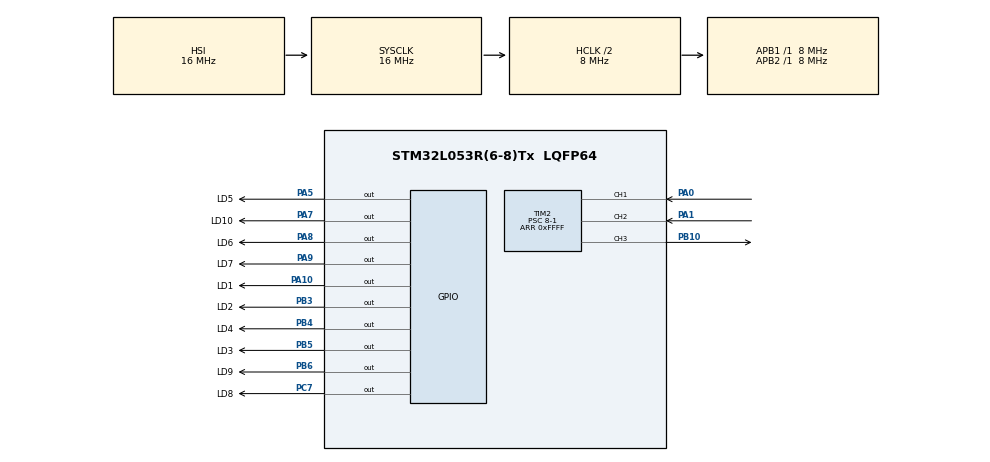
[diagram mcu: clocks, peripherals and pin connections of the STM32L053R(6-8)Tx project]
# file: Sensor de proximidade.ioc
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Dma.Request0=TIM2_CH1
Dma.Request1=TIM2_CH2
Dma.TIM2_CH1.0.Direction=DMA_PERIPH_TO_MEMORY
Dma.TIM2_CH1.0.Instance=DMA1_Channel5
Dma.TIM2_CH1.0.MemDataAlignment=DMA_MDATAALIGN_HALFWORD
Dma.TIM2_CH1.0.MemInc=DMA_MINC_ENABLE
Dma.TIM2_CH1.0.Mode=DMA_NORMAL
Dma.TIM2_CH1.0.PeriphDataAlignment=DMA_PDATAALIGN_HALFWORD
Dma.TIM2_CH1.0.PeriphInc=DMA_PINC_DISABLE
Dma.TIM2_CH1.0.Priority=DMA_PRIORITY_LOW
Dma.TIM2_CH2.1.Direction=DMA_PERIPH_TO_MEMORY
Dma.TIM2_CH2.1.Instance=DMA1_Channel3
Dma.TIM2_CH2.1.MemDataAlignment=DMA_MDATAALIGN_WORD
Dma.TIM2_CH2.1.MemInc=DMA_MINC_ENABLE
Dma.TIM2_CH2.1.Mode=DMA_CIRCULAR
Dma.TIM2_CH2.1.PeriphDataAlignment=DMA_PDATAALIGN_WORD
Dma.TIM2_CH2.1.PeriphInc=DMA_PINC_DISABLE
Dma.TIM2_CH2.1.Priority=DMA_PRIORITY_LOW
Mcu.Family=STM32L0
Mcu.Name=STM32L053R(6-8)Tx
Mcu.Package=LQFP64
NVIC.DMA1_Channel2_3_IRQn=true\:0\:0\:false\:false\:true\:false\:true\:true
NVIC.DMA1_Channel4_5_6_7_IRQn=true\:0\:0\:false\:false\:true\:false\:true\:true
NVIC.TIM2_IRQn=true\:0\:0\:false\:false\:true\:true\:true\:true
PA0.Signal=S_TIM2_CH1
PA1.Signal=S_TIM2_CH2
PA10.GPIO_Label=LD1
PA10.GPIO_PuPd=GPIO_PULLDOWN
PA10.PinState=GPIO_PIN_RESET
PA10.Signal=GPIO_Output
PA5.GPIO_Label=LD5
PA5.GPIO_PuPd=GPIO_PULLDOWN
PA5.PinState=GPIO_PIN_RESET
PA5.Signal=GPIO_Output
PA7.GPIO_Label=LD10
PA7.GPIO_PuPd=GPIO_PULLDOWN
PA7.PinState=GPIO_PIN_RESET
PA7.Signal=GPIO_Output
PA8.GPIO_Label=LD6
PA8.GPIO_PuPd=GPIO_PULLDOWN
PA8.PinState=GPIO_PIN_RESET
PA8.Signal=GPIO_Output
PA9.GPIO_Label=LD7
PA9.GPIO_PuPd=GPIO_PULLDOWN
PA9.PinState=GPIO_PIN_RESET
PA9.Signal=GPIO_Output
PB10.Signal=S_TIM2_CH3
PB3.GPIO_Label=LD2
PB3.GPIO_PuPd=GPIO_PULLDOWN
PB3.PinState=GPIO_PIN_RESET
PB3.Signal=GPIO_Output
PB4.GPIO_Label=LD4
PB4.GPIO_PuPd=GPIO_PULLDOWN
PB4.PinState=GPIO_PIN_RESET
PB4.Signal=GPIO_Output
PB5.GPIO_Label=LD3
PB5.GPIO_PuPd=GPIO_PULLDOWN
PB5.PinState=GPIO_PIN_RESET
PB5.Signal=GPIO_Output
PB6.GPIO_Label=LD9
PB6.GPIO_PuPd=GPIO_PULLDOWN
PB6.PinState=GPIO_PIN_RESET
PB6.Signal=GPIO_Output
PC7.GPIO_Label=LD8
PC7.GPIO_PuPd=GPIO_PULLDOWN
PC7.PinState=GPIO_PIN_RESET
PC7.Signal=GPIO_Output
ProjectManager.HeapSize=0x200
ProjectManager.StackSize=0x400
ProjectManager.TargetToolchain=STM32CubeIDE
RCC.AHBCLKDivider=RCC_SYSCLK_DIV2
RCC.AHBFreq_Value=8000000
RCC.APB1Freq_Value=8000000
RCC.APB1TimFreq_Value=8000000
RCC.APB2Freq_Value=8000000
RCC.APB2TimFreq_Value=8000000
RCC.HCLKFreq_Value=8000000
RCC.HSE_VALUE=8000000
RCC.HSI16_VALUE=16000000
RCC.HSI48_VALUE=48000000
RCC.HSI_VALUE=16000000
RCC.MSI_VALUE=2097000
RCC.SYSCLKFreq_VALUE=16000000
RCC.SYSCLKSource=RCC_SYSCLKSOURCE_HSI
RCC.VCOOutputFreq_Value=48000000
SH.S_TIM2_CH1.0=TIM2_CH1,Input_Capture1_from_TI1
SH.S_TIM2_CH2.0=TIM2_CH2,Input_Capture2_from_TI2
SH.S_TIM2_CH3.0=TIM2_CH3,PWM Generation3 CH3
TIM2.Channel-Input_Capture1_from_TI1=TIM_CHANNEL_1
TIM2.Channel-Input_Capture2_from_TI2=TIM_CHANNEL_2
TIM2.Channel-PWM\ Generation3\ CH3=TIM_CHANNEL_3
TIM2.ICFilter_CH1=5
TIM2.ICFilter_CH2=5
TIM2.ICPolarity_CH2=TIM_INPUTCHANNELPOLARITY_FALLING
TIM2.OCFastMode_PWM-PWM\ Generation3\ CH3=TIM_OCFAST_ENABLE
TIM2.Period=0xFFFF
TIM2.Prescaler=8-1
TIM2.Pulse-PWM\ Generation3\ CH3=10
VP_TIM2_VS_ClockSourceINT.Mode=Internal
board=NUCLEO-L053R8

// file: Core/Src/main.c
/* USER CODE BEGIN Header */
/**
  ******************************************************************************
  * @file           : main.c
  * @brief          : Main program body
  ******************************************************************************
  * @attention
  *
  * Copyright (c) 2025 STMicroelectronics.
  * All rights reserved.
  *
  * This software is licensed under terms that can be found in the LICENSE file
  * in the root directory of this software component.
  * If no LICENSE file comes with this software, it is provided AS-IS.
  *
  ******************************************************************************
  */
/* USER CODE END Header */
#include "main.h"

/* USER CODE BEGIN PTD */
typedef struct{
	uint32_t RisingTiming;
	uint32_t FallingTiming;
	double DistanceInCm;
	double DistanceInIches;

	TIM_HandleTypeDef *htim;
	uint32_t PWM_CHANNEL;
	uint32_t RisingICChannel;
	uint32_t FallingICChannel;
}HCSR04_t;

typedef enum{
	Centimeters = 0x01,
	Iches = 0x02
}GetDistance;

/* USER CODE END PTD */

TIM_HandleTypeDef htim2;
DMA_HandleTypeDef hdma_tim2_ch1;
DMA_HandleTypeDef hdma_tim2_ch2;

/* USER CODE BEGIN PV */
GPIO_PinState verify;
HCSR04_t sine;
uint32_t distance;
/* USER CODE END PV */

void SystemClock_Config(void);
static void MX_GPIO_Init(void);
static void MX_DMA_Init(void);
static void MX_TIM2_Init(void);
/* USER CODE BEGIN PFP */
void LedTest(void);
void TurnOnAll(void);
void TurnOffAll(void);
void TurnOn(GPIO_TypeDef *GPIOx, uint16_t GPIO_Pin);
void TurnOff(GPIO_TypeDef *GPIOx, uint16_t GPIO_Pin);

void HAL_TIM_IC_CaptureCallback(TIM_HandleTypeDef *htim){
	if(htim->Instance == sine.htim->Instance){
		if(htim->Channel == HAL_TIM_ACTIVE_CHANNEL_1){
			sine.RisingTiming = HAL_TIM_ReadCapturedValue(htim, TIM_CHANNEL_1);
		}
		else if(htim->Channel == HAL_TIM_ACTIVE_CHANNEL_2){
			sine.FallingTiming = HAL_TIM_ReadCapturedValue(htim, TIM_CHANNEL_2);
			sine.DistanceInCm = (double)((sine.FallingTiming - sine.RisingTiming) / 58.0);
			sine.DistanceInIches = (double)((sine.FallingTiming - sine.RisingTiming) / 148.0);
		}
	}
}

void HSR04_StartUp(HCSR04_t *handle){
	handle->DistanceInCm = 400;
	HAL_TIM_PWM_Start(handle->htim, handle->PWM_CHANNEL);
	HAL_TIM_IC_Start_DMA(handle->htim, handle->RisingICChannel, &handle->RisingTiming, 1);
	HAL_TIM_IC_Start_DMA(handle->htim, handle->FallingICChannel, &handle->FallingTiming, 1);
}

double HSR04_GetDistance(HCSR04_t *handle){
	return handle->DistanceInCm;
}

void HSR04_InterpretDistance(double distance_cm){
	TurnOffAll();

    if(distance_cm > 100.0){
        distance_cm = 100.0;
    }

    int leds_to_light = (int)(distance_cm / 10.0);
    if(leds_to_light >= 1) TurnOn(LD1_GPIO_Port, LD1_Pin);
	if(leds_to_light >= 2) TurnOn(LD2_GPIO_Port, LD2_Pin);
	if(leds_to_light >= 3) TurnOn(LD3_GPIO_Port, LD3_Pin);
	if(leds_to_light >= 4) TurnOn(LD4_GPIO_Port, LD4_Pin);
	if(leds_to_light >= 5) TurnOn(LD5_GPIO_Port, LD5_Pin);
	if(leds_to_light >= 6) TurnOn(LD6_GPIO_Port, LD6_Pin);
	if(leds_to_light >= 7) TurnOn(LD7_GPIO_Port, LD7_Pin);
	if(leds_to_light >= 8) TurnOn(LD8_GPIO_Port, LD8_Pin);
	if(leds_to_light >= 9) TurnOn(LD9_GPIO_Port, LD9_Pin);
	if(leds_to_light >= 10) TurnOn(LD10_GPIO_Port, LD10_Pin);
}

/* USER CODE END PFP */

int main(void)
{

  /* MCU Configuration--------------------------------------------------------*/

  /* Reset of all peripherals, Initializes the Flash interface and the Systick. */
  HAL_Init();

  /* Configure the system clock */
  SystemClock_Config();

  /* Initialize all configured peripherals */
  MX_GPIO_Init();
  MX_DMA_Init();
  MX_TIM2_Init();
  /* USER CODE BEGIN 2 */

  sine.htim = &htim2;
  sine.RisingICChannel = TIM_CHANNEL_1;
  sine.FallingICChannel = TIM_CHANNEL_2;
  sine.PWM_CHANNEL = TIM_CHANNEL_3;

  HSR04_StartUp(&sine);
  TurnOffAll();

  /* USER CODE END 2 */

  /* Infinite loop */
  /* USER CODE BEGIN WHILE */
  while (1) {
	  HSR04_InterpretDistance(sine.DistanceInCm);
    /* USER CODE END WHILE */

  }
}

void SystemClock_Config(void)
{
  RCC_OscInitTypeDef RCC_OscInitStruct = {0};
  RCC_ClkInitTypeDef RCC_ClkInitStruct = {0};

  /** Configure the main internal regulator output voltage
  */
  __HAL_PWR_VOLTAGESCALING_CONFIG(PWR_REGULATOR_VOLTAGE_SCALE1);

  /** Initializes the RCC Oscillators according to the specified parameters
  * in the RCC_OscInitTypeDef structure.
  */
  RCC_OscInitStruct.OscillatorType = RCC_OSCILLATORTYPE_HSI;
  RCC_OscInitStruct.HSIState = RCC_HSI_ON;
  RCC_OscInitStruct.HSICalibrationValue = RCC_HSICALIBRATION_DEFAULT;
  RCC_OscInitStruct.PLL.PLLState = RCC_PLL_NONE;
  if (HAL_RCC_OscConfig(&RCC_OscInitStruct) != HAL_OK)
  {
    Error_Handler();
  }

  /** Initializes the CPU, AHB and APB buses clocks
  */
  RCC_ClkInitStruct.ClockType = RCC_CLOCKTYPE_HCLK|RCC_CLOCKTYPE_SYSCLK
                              |RCC_CLOCKTYPE_PCLK1|RCC_CLOCKTYPE_PCLK2;
  RCC_ClkInitStruct.SYSCLKSource = RCC_SYSCLKSOURCE_HSI;
  RCC_ClkInitStruct.AHBCLKDivider = RCC_SYSCLK_DIV2;
  RCC_ClkInitStruct.APB1CLKDivider = RCC_HCLK_DIV1;
  RCC_ClkInitStruct.APB2CLKDivider = RCC_HCLK_DIV1;

  if (HAL_RCC_ClockConfig(&RCC_ClkInitStruct, FLASH_LATENCY_0) != HAL_OK)
  {
    Error_Handler();
  }
}

static void MX_TIM2_Init(void)
{

  TIM_ClockConfigTypeDef sClockSourceConfig = {0};
  TIM_MasterConfigTypeDef sMasterConfig = {0};
  TIM_IC_InitTypeDef sConfigIC = {0};
  TIM_OC_InitTypeDef sConfigOC = {0};

  htim2.Instance = TIM2;
  htim2.Init.Prescaler = 8-1;
  htim2.Init.CounterMode = TIM_COUNTERMODE_UP;
  htim2.Init.Period = 0xFFFF;
  htim2.Init.ClockDivision = TIM_CLOCKDIVISION_DIV1;
  htim2.Init.AutoReloadPreload = TIM_AUTORELOAD_PRELOAD_DISABLE;
  if (HAL_TIM_Base_Init(&htim2) != HAL_OK)
  {
    Error_Handler();
  }
  sClockSourceConfig.ClockSource = TIM_CLOCKSOURCE_INTERNAL;
  if (HAL_TIM_ConfigClockSource(&htim2, &sClockSourceConfig) != HAL_OK)
  {
    Error_Handler();
  }
  if (HAL_TIM_IC_Init(&htim2) != HAL_OK)
  {
    Error_Handler();
  }
  if (HAL_TIM_PWM_Init(&htim2) != HAL_OK)
  {
    Error_Handler();
  }
  sMasterConfig.MasterOutputTrigger = TIM_TRGO_RESET;
  sMasterConfig.MasterSlaveMode = TIM_MASTERSLAVEMODE_DISABLE;
  if (HAL_TIMEx_MasterConfigSynchronization(&htim2, &sMasterConfig) != HAL_OK)
  {
    Error_Handler();
  }
  sConfigIC.ICPolarity = TIM_INPUTCHANNELPOLARITY_RISING;
  sConfigIC.ICSelection = TIM_ICSELECTION_DIRECTTI;
  sConfigIC.ICPrescaler = TIM_ICPSC_DIV1;
  sConfigIC.ICFilter = 5;
  if (HAL_TIM_IC_ConfigChannel(&htim2, &sConfigIC, TIM_CHANNEL_1) != HAL_OK)
  {
    Error_Handler();
  }
  sConfigIC.ICPolarity = TIM_INPUTCHANNELPOLARITY_FALLING;
  if (HAL_TIM_IC_ConfigChannel(&htim2, &sConfigIC, TIM_CHANNEL_2) != HAL_OK)
  {
    Error_Handler();
  }
  sConfigOC.OCMode = TIM_OCMODE_PWM1;
  sConfigOC.Pulse = 10;
  sConfigOC.OCPolarity = TIM_OCPOLARITY_HIGH;
  sConfigOC.OCFastMode = TIM_OCFAST_ENABLE;
  if (HAL_TIM_PWM_ConfigChannel(&htim2, &sConfigOC, TIM_CHANNEL_3) != HAL_OK)
  {
    Error_Handler();
  }
  HAL_TIM_MspPostInit(&htim2);

}

static void MX_DMA_Init(void)
{

  /* DMA controller clock enable */
  __HAL_RCC_DMA1_CLK_ENABLE();

  /* DMA interrupt init */
  /* DMA1_Channel2_3_IRQn interrupt configuration */
  HAL_NVIC_SetPriority(DMA1_Channel2_3_IRQn, 0, 0);
  HAL_NVIC_EnableIRQ(DMA1_Channel2_3_IRQn);
  /* DMA1_Channel4_5_6_7_IRQn interrupt configuration */
  HAL_NVIC_SetPriority(DMA1_Channel4_5_6_7_IRQn, 0, 0);
  HAL_NVIC_EnableIRQ(DMA1_Channel4_5_6_7_IRQn);

}

static void MX_GPIO_Init(void)
{
  GPIO_InitTypeDef GPIO_InitStruct = {0};

  /* GPIO Ports Clock Enable */
  __HAL_RCC_GPIOA_CLK_ENABLE();
  __HAL_RCC_GPIOB_CLK_ENABLE();
  __HAL_RCC_GPIOC_CLK_ENABLE();

  /*Configure GPIO pin Output Level */
  HAL_GPIO_WritePin(GPIOA, LD5_Pin|LD10_Pin|LD6_Pin|LD7_Pin
                          |LD1_Pin, GPIO_PIN_RESET);

  /*Configure GPIO pin Output Level */
  HAL_GPIO_WritePin(LD8_GPIO_Port, LD8_Pin, GPIO_PIN_RESET);

  /*Configure GPIO pin Output Level */
  HAL_GPIO_WritePin(GPIOB, LD2_Pin|LD4_Pin|LD3_Pin|LD9_Pin, GPIO_PIN_RESET);

  /*Configure GPIO pins : LD5_Pin LD10_Pin LD6_Pin LD7_Pin
                           LD1_Pin */
  GPIO_InitStruct.Pin = LD5_Pin|LD10_Pin|LD6_Pin|LD7_Pin
                          |LD1_Pin;
  GPIO_InitStruct.Mode = GPIO_MODE_OUTPUT_PP;
  GPIO_InitStruct.Pull = GPIO_PULLDOWN;
  GPIO_InitStruct.Speed = GPIO_SPEED_FREQ_LOW;
  HAL_GPIO_Init(GPIOA, &GPIO_InitStruct);

  /*Configure GPIO pin : LD8_Pin */
  GPIO_InitStruct.Pin = LD8_Pin;
  GPIO_InitStruct.Mode = GPIO_MODE_OUTPUT_PP;
  GPIO_InitStruct.Pull = GPIO_PULLDOWN;
  GPIO_InitStruct.Speed = GPIO_SPEED_FREQ_LOW;
  HAL_GPIO_Init(LD8_GPIO_Port, &GPIO_InitStruct);

  /*Configure GPIO pins : LD2_Pin LD4_Pin LD3_Pin LD9_Pin */
  GPIO_InitStruct.Pin = LD2_Pin|LD4_Pin|LD3_Pin|LD9_Pin;
  GPIO_InitStruct.Mode = GPIO_MODE_OUTPUT_PP;
  GPIO_InitStruct.Pull = GPIO_PULLDOWN;
  GPIO_InitStruct.Speed = GPIO_SPEED_FREQ_LOW;
  HAL_GPIO_Init(GPIOB, &GPIO_InitStruct);

}

/* USER CODE BEGIN 4 */

void LedTest(void){
	  TurnOn(LD1_GPIO_Port, LD1_Pin);
	  HAL_Delay(100);
	  TurnOn(LD2_GPIO_Port, LD2_Pin);
	  HAL_Delay(100);
	  TurnOn(LD3_GPIO_Port, LD3_Pin);
	  HAL_Delay(100);
	  TurnOn(LD4_GPIO_Port, LD4_Pin);
	  HAL_Delay(100);
	  TurnOn(LD5_GPIO_Port, LD5_Pin);
	  HAL_Delay(100);
	  TurnOn(LD6_GPIO_Port, LD6_Pin);
	  HAL_Delay(100);
	  TurnOn(LD7_GPIO_Port, LD7_Pin);
	  HAL_Delay(100);
	  TurnOn(LD8_GPIO_Port, LD8_Pin);
	  HAL_Delay(100);
	  TurnOn(LD9_GPIO_Port, LD9_Pin);
	  HAL_Delay(100);
	  TurnOn(LD10_GPIO_Port, LD10_Pin);
	  HAL_Delay(100);

	  TurnOff(LD1_GPIO_Port, LD1_Pin);
	  HAL_Delay(100);
	  TurnOff(LD2_GPIO_Port, LD2_Pin);
	  HAL_Delay(100);
	  TurnOff(LD3_GPIO_Port, LD3_Pin);
	  HAL_Delay(100);
	  TurnOff(LD4_GPIO_Port, LD4_Pin);
	  HAL_Delay(100);
	  TurnOff(LD5_GPIO_Port, LD5_Pin);
	  HAL_Delay(100);
	  TurnOff(LD6_GPIO_Port, LD6_Pin);
	  HAL_Delay(100);
	  TurnOff(LD7_GPIO_Port, LD7_Pin);
	  HAL_Delay(100);
	  TurnOff(LD8_GPIO_Port, LD8_Pin);
	  HAL_Delay(100);
	  TurnOff(LD9_GPIO_Port, LD9_Pin);
	  HAL_Delay(100);
	  TurnOff(LD10_GPIO_Port, LD10_Pin);
	  HAL_Delay(100);
}

void TurnOn(GPIO_TypeDef *GPIOx, uint16_t GPIO_Pin){
	  HAL_GPIO_WritePin(GPIOx, GPIO_Pin, GPIO_PIN_SET);
}
void TurnOff(GPIO_TypeDef *GPIOx, uint16_t GPIO_Pin){
	  HAL_GPIO_WritePin(GPIOx, GPIO_Pin, GPIO_PIN_RESET);
}
void TurnOffAll(void){
	HAL_GPIO_WritePin(LD1_GPIO_Port, LD1_Pin, GPIO_PIN_RESET);
	HAL_GPIO_WritePin(LD2_GPIO_Port, LD2_Pin, GPIO_PIN_RESET);
	HAL_GPIO_WritePin(LD3_GPIO_Port, LD3_Pin, GPIO_PIN_RESET);
	HAL_GPIO_WritePin(LD4_GPIO_Port, LD4_Pin, GPIO_PIN_RESET);
	HAL_GPIO_WritePin(LD5_GPIO_Port, LD5_Pin, GPIO_PIN_RESET);
	HAL_GPIO_WritePin(LD6_GPIO_Port, LD6_Pin, GPIO_PIN_RESET);
	HAL_GPIO_WritePin(LD7_GPIO_Port, LD7_Pin, GPIO_PIN_RESET);
	HAL_GPIO_WritePin(LD8_GPIO_Port, LD8_Pin, GPIO_PIN_RESET);
	HAL_GPIO_WritePin(LD9_GPIO_Port, LD9_Pin, GPIO_PIN_RESET);
	HAL_GPIO_WritePin(LD10_GPIO_Port, LD10_Pin, GPIO_PIN_RESET);
}

void TurnOnAll(void){
	HAL_GPIO_WritePin(LD1_GPIO_Port, LD1_Pin, GPIO_PIN_SET);
	HAL_GPIO_WritePin(LD2_GPIO_Port, LD2_Pin, GPIO_PIN_SET);
	HAL_GPIO_WritePin(LD3_GPIO_Port, LD3_Pin, GPIO_PIN_SET);
	HAL_GPIO_WritePin(LD4_GPIO_Port, LD4_Pin, GPIO_PIN_SET);
	HAL_GPIO_WritePin(LD5_GPIO_Port, LD5_Pin, GPIO_PIN_SET);
	HAL_GPIO_WritePin(LD6_GPIO_Port, LD6_Pin, GPIO_PIN_SET);
	HAL_GPIO_WritePin(LD7_GPIO_Port, LD7_Pin, GPIO_PIN_SET);
	HAL_GPIO_WritePin(LD8_GPIO_Port, LD8_Pin, GPIO_PIN_SET);
	HAL_GPIO_WritePin(LD9_GPIO_Port, LD9_Pin, GPIO_PIN_SET);
	HAL_GPIO_WritePin(LD10_GPIO_Port, LD10_Pin, GPIO_PIN_SET);
}

/* USER CODE END 4 */

void Error_Handler(void)
{
  __disable_irq();
  while (1)
  {
  }
}
